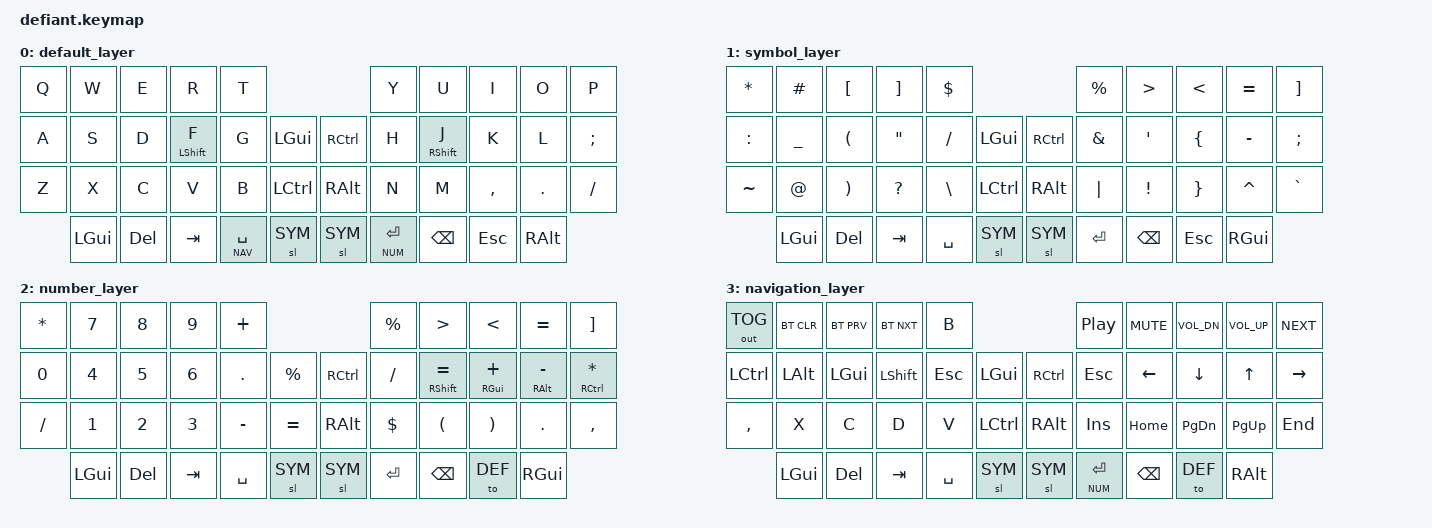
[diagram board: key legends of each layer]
#include <behaviors.dtsi>
#include <dt-bindings/zmk/keys.h>
#include <dt-bindings/zmk/outputs.h>
#include <dt-bindings/zmk/bt.h>#

#define DEF 0
#define SYM 1
#define NUM 2
#define NAV 3

/ {

keymap {
    compatible = "zmk,keymap";

    default_layer {
        bindings = <
         &kp Q    &kp W     &kp E     &kp R     &kp T                             &kp Y     &kp U     &kp I     &kp O     &kp P
         &kp A    &kp S     &kp D     &mt LSHIFT F     &kp G      &kp LGUI    &kp RCTRL  &kp H     &mt RSHIFT J     &kp K     &kp L     &kp SEMI
         &kp Z    &kp X     &kp C     &kp V     &kp B 	   &kp LCTRL   &kp RALT   &kp N     &kp M     &kp COMMA &kp DOT   &kp FSLH
                  &kp LGUI  &kp DEL   &kp TAB   &lt NAV SPACE  &sl SYM  &sl SYM &lt NUM RET   &kp BSPC  &kp ESC   &kp RALT
        >;
    };

    symbol_layer {
        bindings = <
        &kp STAR  &kp HASH  &kp LBKT &kp RBKT  &kp DOLLAR                        &kp PRCNT &kp GT    &kp LT    &kp EQUAL &kp RBKT    
        &kp COLON &kp UNDER &kp LPAR &kp DQT   &kp FSLH  &kp  LGUI    &kp  RCTRL &kp AMPS  &kp SQT   &kp LBRC  &kp MINUS &kp SEMI 
        &kp TILDE &kp AT    &kp RPAR &kp QMARK &kp BSLH  &kp  LCTRL   &kp  RALT  &kp PIPE  &kp EXCL  &kp RBRC  &kp CARET &kp GRAVE 
                  &kp LGUI  &kp DEL  &kp TAB   &kp SPACE &sl  SYM     &sl  SYM   &kp RET   &kp BSPC  &kp ESC   &kp RGUI
        >;
    };

    number_layer {
        bindings = <
        &kp STAR  &kp N7    &kp N8    &kp N9    &kp PLUS                          &kp PRCNT &kp GT    &kp LT    &kp EQUAL &kp RBKT    
        &kp N0    &kp N4    &kp N5    &kp N6    &kp DOT &kp  PRCNT &kp  RCTRL &kp FSLH  &mt RSHFT EQUAL &mt RGUI PLUS &mt RALT MINUS &mt RCTRL STAR 
        &kp FSLH  &kp N1    &kp N2    &kp N3    &kp MINUS &kp  EQUAL   &kp  RALT  &kp DLLR  &kp LPAR  &kp RPAR  &kp DOT   &kp COMMA 
                  &kp LGUI  &kp DEL   &kp TAB   &kp SPACE &sl  SYM     &sl  SYM   &kp RET   &kp BSPC  &to DEF   &kp RGUI
        >;

    };

    navigation_layer {
        bindings = <
        &out OUT_TOG &bt BT_CLR &bt BT_PRV &bt BT_NXT   &kp B                           &kp C_PP &kp C_MUTE &kp C_VOL_DN &kp C_VOL_UP &kp C_NEXT    
        &kp LCTRL &kp LALT  &kp LGUI  &kp LSHIFT &kp ESC &kp LGUI   &kp RCTRL   &kp ESC   &kp LEFT  &kp DOWN  &kp UP    &kp RIGHT 
        &kp COMMA &kp X     &kp C     &kp D   &kp V 	 &kp LCTRL  &kp RALT    &kp INS   &kp HOME  &kp PG_DN &kp PG_UP &kp END 
                  &kp LGUI  &kp DEL   &kp TAB &kp SPACE  &sl SYM    &sl SYM   &lt NUM RET &kp BSPC  &to DEF   &kp RALT
        >;
    };
};

};
